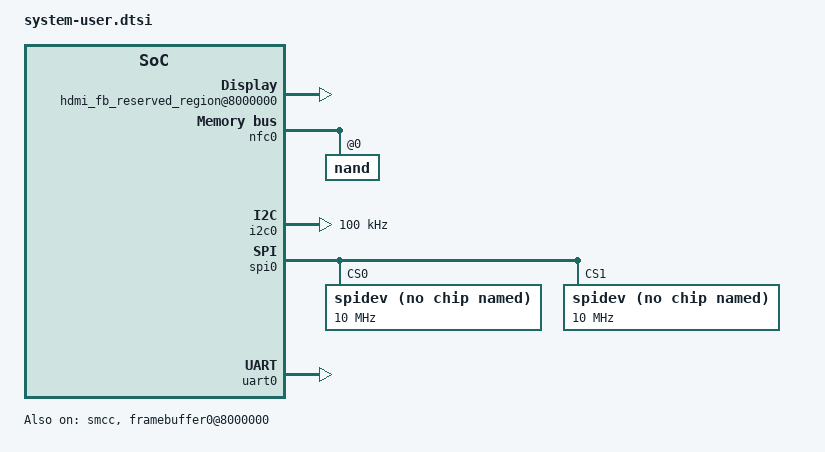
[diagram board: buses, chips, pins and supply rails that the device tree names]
/include/ "system-conf.dtsi"
/*
 * DEBAZAROS base device tree (2026-10-25). The ONLY copy: the old one in the
 * repo root was removed.
 *
 * - No PL nodes: project-spec/configs/config sets CONFIG_SUBSYSTEM_REMOVE_PL_DTB.
 *   Generated PL nodes bound real drivers (xilinx-vdma on the display VDMAs,
 *   xilinx-vtc) and stale ones pointed at blocks that no bitstream has.
 *   debazd and hdmi2 own the PL through /dev/mem. A variant can add UIO nodes
 *   with an overlay: fpgautil -b <variant>.bit.bin -o <variant>.dtbo
 *   (ROADMAP.md section 8).
 * - Every value below runs on the bench board (PetaLinux/dtb/system-96M.dtb,
 *   verified 2026-10-24).
 */
/ {
	chosen {
		/* cma=256M dropped: Linux has about 150 MB, the kernel already
		 * refused it (CmaTotal 0) and nothing uses CMA. */
		bootargs = "earlycon console=ttyPS0,115200 clk_ignore_unused root=/dev/mmcblk0p2 rw rootwait uio_pdrv_genirq.of_id=generic-uio";
	};

	reserved-memory {
		#address-cells = <1>;
		#size-cells = <1>;
		ranges;
		/* Video frame slots: 12 x 0x7E9000 (1920x1080x4) from 0x0800_0000
		 * (sw/lib/dz_hw.h). 96 MB, NOT 128 MB: a region up to the top of RAM
		 * overlaps the DTB that U-Boot places there, and the kernel then
		 * drops the whole reservation (PetaLinux/dtb/README.md). */
		hdmi_fb_reserved_region@8000000 {
			compatible = "removed-dma-pool";
			no-map;
			reg = <0x08000000 0x06000000>;
		};
	};

	/* /dev/fb0 for ffmpeg -f fbdev. simplefb allows only ONE instance
	 * (CLAUDE.md "Two independent framebuffers"). 1280x2160 = 3 x 720 lines
	 * from slot 0; display 0 shows the top 720 lines. */
	framebuffer0@8000000 {
		compatible = "simple-framebuffer";
		reg = <0x08000000 (1280 * 2160 * 4)>;
		width = <1280>;
		height = <2160>;
		stride = <(1280 * 4)>;
		format = "a8r8g8b8";
		status = "okay";
	};

	/* Keep the console on ttyPS0 (UART1, MIO 24/25) when UART0 is enabled
	 * for the user I/O lines; UART0 = ttyPS1. */
	aliases {
		serial0 = &uart1;
		serial1 = &uart0;
	};

	/* Target region for bitstream + overlay loads (fpgautil). PL-DTB removal
	 * also removes the generated one. devcfg = the Zynq FPGA manager. */
	fpga-full {
		compatible = "fpga-region";
		fpga-mgr = <&devcfg>;
		#address-cells = <1>;
		#size-cells = <1>;
		ranges;
	};
};

/* Soldered NAND (128 MB, PS NAND controller on MIO 0, 2-14; enabled in the
 * PS7 setup). It holds the board's first life as a miner control card. Without
 * this node: "pl353-smc: no matching children", empty /proc/mtd. One MTD
 * device, no partitions. READ IT ONLY: nanddump, or mount with -o ro; a
 * read-write JFFS2/UBIFS mount writes to the chip. */
&smcc {
	status = "okay";
};

&nfc0 {
	status = "okay";
	nand@0 {
		reg = <0>;
		nand-bus-width = <8>;
	};
};

/* User I/O lines PL_KEY0-5 / header P1 (2026-10-27): the PS controllers I2C0,
 * SPI0 and UART0 reach them through EMIO and the pin function select in the
 * PL (hw/rtl/pl_io, registers 0x43C6_0040). Pins are inputs until debazd
 * selects a function (/io/pin/<n> <name>); with an older bitstream the EMIO
 * signals go nowhere (no harm: I2C transfers time out). 10 kOhm pull-ups on
 * the board: I2C 100 kHz. */
&i2c0 {
	status = "okay";
	clock-frequency = <100000>;
};

&spi0 {
	status = "okay";
	num-cs = <3>;
	is-decoded-cs = <0>;
	/* /dev/spidev0.0 and 0.1 ("rohm,dh2228fv" = the spidev match that the
	 * kernel accepts in a device tree) */
	spidev@0 {
		compatible = "rohm,dh2228fv";
		reg = <0>;
		spi-max-frequency = <10000000>;
	};
	spidev@1 {
		compatible = "rohm,dh2228fv";
		reg = <1>;
		spi-max-frequency = <10000000>;
	};
};

&uart0 {
	status = "okay";
};

